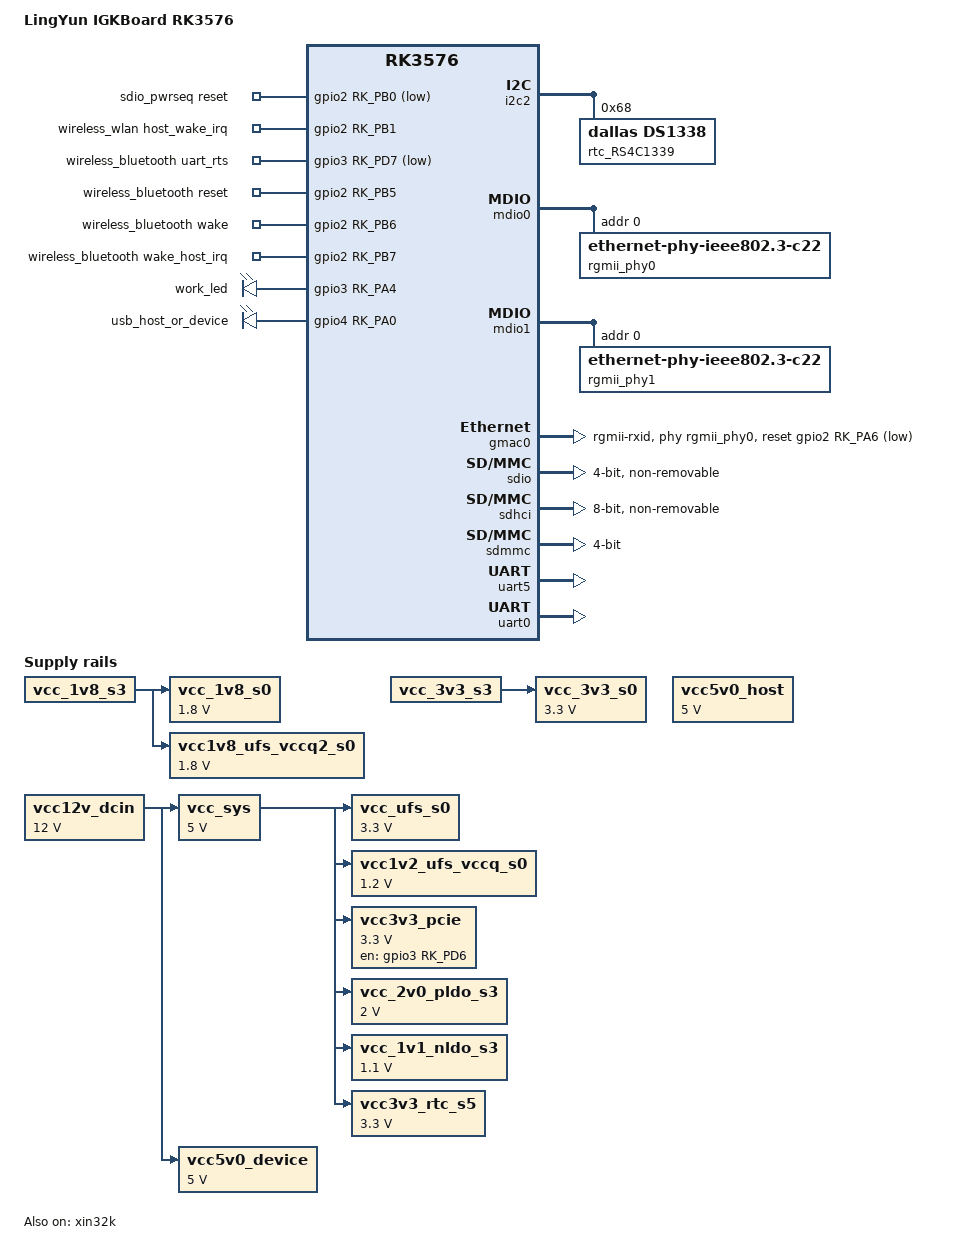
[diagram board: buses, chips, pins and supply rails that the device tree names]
// SPDX-License-Identifier: (GPL-2.0+ OR MIT)
/*
 * Copyright (c) 2024 Rockchip Electronics Co., Ltd.
 * rk3576-igkboard-lingyun.dts
 */

/dts-v1/;

#include <dt-bindings/usb/pd.h>
#include <dt-bindings/leds/common.h>
#include <dt-bindings/gpio/gpio.h>
#include <dt-bindings/pwm/pwm.h>
#include <dt-bindings/pinctrl/rockchip.h>
#include "rk3576.dtsi"
#include "rk3576-rk806.dtsi"

/ {
        model = "LingYun IGKBoard RK3576";
        compatible = "lingyun,igkboard-rk3576", "rockchip,rk3576";

        aliases {
                ethernet0 = &gmac0;
                mmc0 = &sdhci;
                mmc1 = &sdmmc;
        };

        chosen: chosen {
                //bootargs = "earlycon=uart8250,mmio32,0x2ad40000 console=ttyFIQ0 root=PARTUUID=614e0000-0000 rw rootwait rcupdate.rcu_expedited=1 rcu_nocbs=all";
                stdout-path = "serial0:1500000n8";
        };

/*
        fiq_debugger: fiq-debugger {
                compatible = "rockchip,fiq-debugger";
                rockchip,serial-id = <0>;
                rockchip,wake-irq = <0>;
                //If enable uart uses irq instead of fiq
                rockchip,irq-mode-enable = <1>;
                rockchip,baudrate = <1500000>;  // Only 115200 and 1500000
                interrupts = <GIC_SPI 389 IRQ_TYPE_LEVEL_LOW>;
                pinctrl-names = "default";
                pinctrl-0 = <&uart0m0_xfer>;
                status = "okay";
        };
*/

        reserved-memory {
                #address-cells = <2>;
                #size-cells = <2>;
                ranges;

                drm_logo: drm-logo@0 {
                        compatible = "rockchip,drm-logo";
                        reg = <0x0 0x0 0x0 0x0>;
                };

                drm_cubic_lut: drm-cubic-lut@0 {
                        compatible = "rockchip,drm-cubic-lut";
                        reg = <0x0 0x0 0x0 0x0>;
                };

                ramoops: ramoops@40110000 {
                        compatible = "ramoops";
                        /* 0x40110000 to 0x401f0000 is for ramoops */
                        reg = <0x0 0x40110000 0x0 0xe0000>;
                        boot-log-size = <0x8000>;     /* do not change */
                        boot-log-count = <0x1>;       /* do not change */
                        console-size = <0x80000>;
                        pmsg-size = <0x30000>;
                        ftrace-size = <0x00000>;
                        record-size = <0x14000>;
                 };
        };

        /* 电压 */
        vcc_1v8_s0: vcc-1v8-s0 {
                compatible = "regulator-fixed";
                regulator-name = "vcc_1v8_s0";
                regulator-boot-on;
                regulator-always-on;
                regulator-min-microvolt = <1800000>;
                regulator-max-microvolt = <1800000>;
                vin-supply = <&vcc_1v8_s3>;
        };

        vcc_3v3_s0: vcc-3v3-s0 {
                compatible = "regulator-fixed";
                regulator-name = "vcc_3v3_s0";
                regulator-boot-on;
                regulator-always-on;
                regulator-min-microvolt = <3300000>;
                regulator-max-microvolt = <3300000>;
                vin-supply = <&vcc_3v3_s3>;
        };

        vcc_ufs_s0: vcc-ufs-s0 {
                compatible = "regulator-fixed";
                regulator-name = "vcc_ufs_s0";
                regulator-boot-on;
                regulator-always-on;
                regulator-min-microvolt = <3300000>;
                regulator-max-microvolt = <3300000>;
                vin-supply = <&vcc_sys>;
        };

        vcc1v8_ufs_vccq2_s0: vcc1v8-ufs-vccq2-s0 {
                compatible = "regulator-fixed";
                regulator-name = "vcc1v8_ufs_vccq2_s0";
                regulator-boot-on;
                regulator-always-on;
                regulator-min-microvolt = <1800000>;
                regulator-max-microvolt = <1800000>;
                vin-supply = <&vcc_1v8_s3>;
        };

        vcc1v2_ufs_vccq_s0: vcc1v2-ufs-vccq-s0 {
                compatible = "regulator-fixed";
                regulator-name = "vcc1v2_ufs_vccq_s0";
                regulator-boot-on;
                regulator-always-on;
                regulator-min-microvolt = <1200000>;
                regulator-max-microvolt = <1200000>;
                vin-supply = <&vcc_sys>;
        };

        vcc3v3_pcie: gpio-regulator {
                compatible = "regulator-fixed";
                regulator-name = "vcc3v3_pcie";
                regulator-min-microvolt = <3300000>;
                regulator-max-microvolt = <3300000>;
                enable-active-high;
                gpio = <&gpio3 RK_PD6 GPIO_ACTIVE_HIGH>;
                startup-delay-us = <5000>;
                vin-supply = <&vcc_sys>;
        };

        vcc5v0_host: vcc5v0-host {
                compatible = "regulator-fixed";
                regulator-name = "vcc5v0_host";
                regulator-boot-on;
                regulator-always-on;
                regulator-min-microvolt = <5000000>;
                regulator-max-microvolt = <5000000>;
                enable-active-high;
        };

        vcc12v_dcin: vcc12v-dcin {
                compatible = "regulator-fixed";
                regulator-name = "vcc12v_dcin";
                regulator-always-on;
                regulator-boot-on;
                regulator-min-microvolt = <12000000>;
                regulator-max-microvolt = <12000000>;
        };

        vcc_sys: vcc5v0-sys {
                compatible = "regulator-fixed";
                regulator-name = "vcc_sys";
                regulator-always-on;
                regulator-boot-on;
                regulator-min-microvolt = <5000000>;
                regulator-max-microvolt = <5000000>;
                vin-supply = <&vcc12v_dcin>;
        };

        vcc5v0_device: vcc5v0-device {
                compatible = "regulator-fixed";
                regulator-name = "vcc5v0_device";
                regulator-always-on;
                regulator-boot-on;
                regulator-min-microvolt = <5000000>;
                regulator-max-microvolt = <5000000>;
                vin-supply = <&vcc12v_dcin>;
        };

        vcc_2v0_pldo_s3: vcc-2v0-pldo-s3 {
                compatible = "regulator-fixed";
                regulator-name = "vcc_2v0_pldo_s3";
                regulator-boot-on;
                regulator-always-on;
                regulator-min-microvolt = <2000000>;
                regulator-max-microvolt = <2000000>;
                vin-supply = <&vcc_sys>;
        };

        vcc_1v1_nldo_s3: vcc-1v1-nldo-s3 {
                compatible = "regulator-fixed";
                regulator-name = "vcc_1v1_nldo_s3";
                regulator-boot-on;
                regulator-always-on;
                regulator-min-microvolt = <1100000>;
                regulator-max-microvolt = <1100000>;
                vin-supply = <&vcc_sys>;
        };

        vcc3v3_rtc_s5: vcc3v3-rtc-s5 {
                compatible = "regulator-fixed";
                regulator-name = "vcc3v3_rtc_s5";
                regulator-boot-on;
                regulator-always-on;
                regulator-min-microvolt = <3300000>;
                regulator-max-microvolt = <3300000>;
                vin-supply = <&vcc_sys>;
        };

        /* wifi电源 */
        sdio_pwrseq: sdio-pwrseq {
                compatible = "mmc-pwrseq-simple";
                pinctrl-names = "default";
                pinctrl-0 = <&wifi_poweren_gpio>;
                clocks = <&rk806 1>;
                clock-names = "ext_clock";
                post-power-on-delay-ms = <200>;
                reset-gpios = <&gpio2 RK_PB0 GPIO_ACTIVE_LOW>;
                status = "okay";
        };

        /* wifi*/
        wireless_wlan: wireless-wlan {
                compatible = "wlan-platdata";
                wifi_chip_type = "ap6256";
                pinctrl-names = "default";
                pinctrl-0 = <&wifi_host_wake_irq>;
                WIFI,host_wake_irq = <&gpio2 RK_PB1 GPIO_ACTIVE_HIGH>;
                status = "okay";
        };  

        /* 蓝牙 */
        wireless_bluetooth: wireless-bluetooth {
                compatible = "bluetooth-platdata";
                //clocks = <&xin32k>;
                //clock-names = "ext_clock";
                uart_rts_gpios = <&gpio3 RK_PD7 GPIO_ACTIVE_LOW>;
                pinctrl-names = "default", "rts_gpio";
                pinctrl-0 = <&uart5m0_rtsn>;
                pinctrl-1 = <&uart5_gpios>;
                BT,reset_gpio    =      <&gpio2 RK_PB5 GPIO_ACTIVE_HIGH>;
                BT,wake_gpio     =      <&gpio2 RK_PB6 GPIO_ACTIVE_HIGH>;
                BT,wake_host_irq =      <&gpio2 RK_PB7 GPIO_ACTIVE_HIGH>;
                status = "okay";
        };

        /* 控制脚 */
        leds: leds {
                compatible = "gpio-leds";

                work_led: work {
                    gpios = <&gpio3 RK_PA4 GPIO_ACTIVE_HIGH>;
                    linux,default-trigger = "heartbeat";
                };

                usb_host_or_device: usb_host_or_device{
                    gpios = <&gpio4 RK_PA0 GPIO_ACTIVE_HIGH>;
                    default-state = "on";
                };
        };
};

/*+---------------+
 *|               |
 *|     时钟      |
 *|               |
 *+---------------+*/
&xin32k {
        pinctrl-0 = <&clk0_32k_pins>;
        status = "okay";
};

&i2c2 {
        status = "okay";
        pinctrl-0 = <&i2c2m0_xfer>;

        rtc_RS4C1339: rtc@68 {
                compatible = "dallas,ds1338";
                reg = <0x68>;
                status = "okay";
        };
};

/*+---------------+
 *|               |
 *|     以太网     |
 *|               |
 *+---------------+*/
&mdio0 {
        rgmii_phy0: phy@1 {
                compatible = "ethernet-phy-ieee802.3-c22";
                reg = <0x0>;
        };
};

&mdio1 {
        rgmii_phy1: phy@1 {
                compatible = "ethernet-phy-ieee802.3-c22";
                reg = <0x0>;
        };
};

&gmac0 {
        /* Use rgmii-rxid mode to disable rx delay inside Soc */
        phy-mode = "rgmii-rxid";
        clock_in_out = "output";

        snps,reset-gpio = <&gpio2 RK_PA6 GPIO_ACTIVE_LOW>;
        snps,reset-active-low;
        /* Reset time is 20ms, 100ms for rtl8211f */
        snps,reset-delays-us = <0 20000 100000>;

        pinctrl-names = "default";
        pinctrl-0 = <&eth0m0_miim
                     &eth0m0_tx_bus2
                     &eth0m0_rx_bus2
                     &eth0m0_rgmii_clk
                     &eth0m0_rgmii_bus>;

        tx_delay = <0x1b>;
        //rx_delay = <0x3f>;

        phy-handle = <&rgmii_phy0>;
        status = "okay";
};

/*+------------------+
 *|                  |
 *|  wifi所用的SDIO  |
 *|                  |
 *+------------------+*/
&sdio {
        max-frequency = <50000000>;
        no-sd;
        no-mmc;
        bus-width = <4>;
        disable-wp;
        cap-sd-highspeed;
        //cap-sdio-irq;//中断轮询
        keep-power-in-suspend;
        mmc-pwrseq = <&sdio_pwrseq>;
        non-removable;
        pinctrl-names = "default";
        pinctrl-0 = <&sdmmc1m0_bus4 &sdmmc1m0_clk &sdmmc1m0_cmd>;
        //sd-uhs-sdr50; //高速模式
    //sd-uhs-sdr104;
        status = "okay";
};


/*+---------------+
 *|               |
 *|     eMMC      |
 *|               |
 *+---------------+*/
&sdhci {
        bus-width = <8>;
        no-sdio;
        no-sd;
        non-removable;
        max-frequency = <200000000>;
        mmc-hs400-1_8v;
        mmc-hs400-enhanced-strobe;
        full-pwr-cycle-in-suspend;
        status = "okay";
};

/*+---------------+
 *|               |
 *|     sd卡      |
 *|               |
 *+---------------+*/
&sdmmc {
        max-frequency = <150000000>;
        no-sdio;
        no-mmc;
        bus-width = <4>;
        cap-mmc-highspeed;
        cap-sd-highspeed;
        disable-wp;
        no-1-8-v;
        sd-uhs-sdr104;
        vqmmc-supply = <&vccio_sd_s0>;
        pinctrl-names = "default";
        pinctrl-0 = <&sdmmc0_bus4 &sdmmc0_clk &sdmmc0_cmd &sdmmc0_det>;
        status = "okay";
};


/*+---------------+
 *|               |
 *|  蓝牙的UART   |
 *|               |
 *+---------------+*/
&uart5 {
        status = "okay";
        //dma-names = "tx", "rx";
        pinctrl-names = "default";
        pinctrl-0 = <&uart5m0_xfer &uart5m0_ctsn>;
};

&uart0 {
        pinctrl-0 = <&uart0m0_xfer>;
        status = "okay";
};

/*+---------------+
 *|               |
 *|    控制脚     |
 *|               |
 *+---------------+*/
&uart3 {
        status = "disabled";
        pinctrl-names = "default";
        pinctrl-0 = <&uart3m1_xfer>;
};

/* pin脚*/
&pinctrl {
        usb {
                usbc0_int: usbc0-int {
                        rockchip,pins = <0 RK_PA5 RK_FUNC_GPIO &pcfg_pull_up>;
                };
        };

        wireless-bluetooth {
                uart5_gpios: uart5-gpios {
                        rockchip,pins = <3 RK_PD7 RK_FUNC_GPIO &pcfg_pull_none>;
                };
        };

        wireless-wlan {
                wifi_host_wake_irq: wifi-host-wake-irq {
                        rockchip,pins = <2 RK_PB1 RK_FUNC_GPIO &pcfg_pull_down>;
                };

                wifi_poweren_gpio: wifi-poweren-gpio {
                        rockchip,pins = <2 RK_PB0 RK_FUNC_GPIO &pcfg_pull_up>;
                };
        };
};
